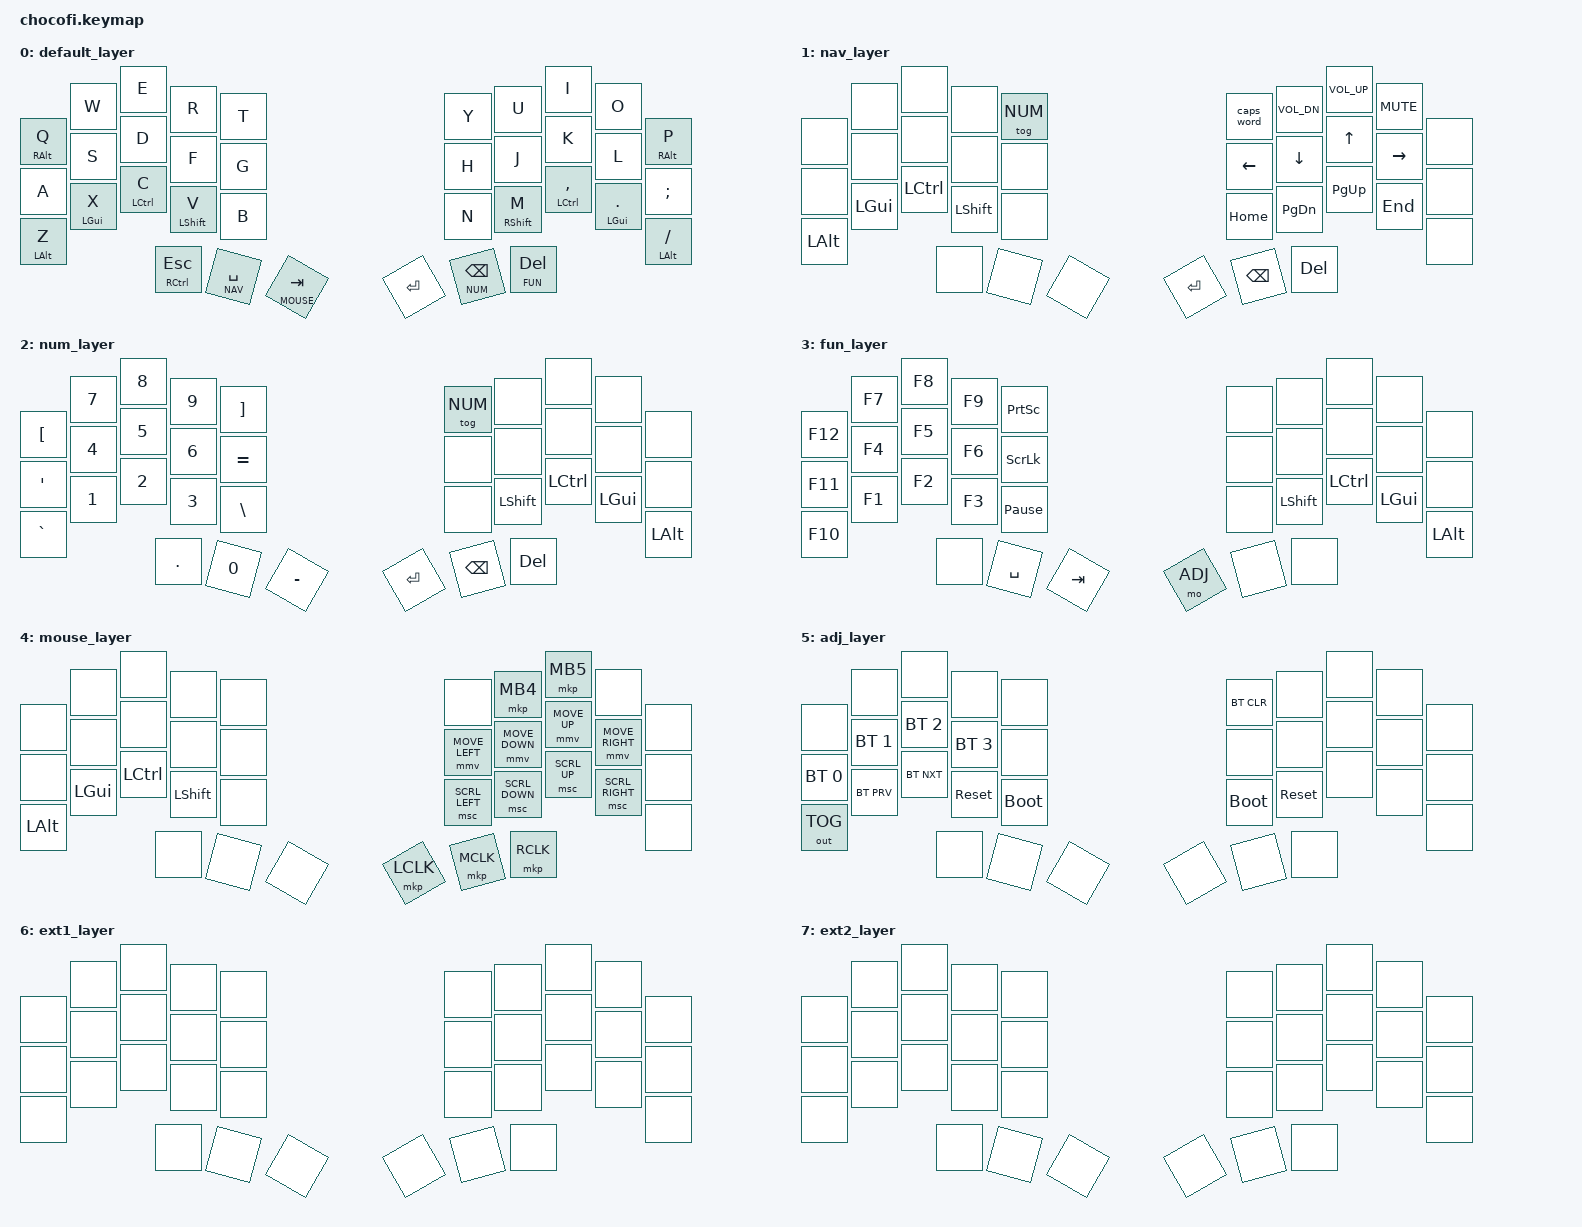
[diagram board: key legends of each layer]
/*
 * Copyright (c) 2020 The ZMK Contributors
 *
 * SPDX-License-Identifier: MIT
 */

#define ZMK_POINTING_DEFAULT_MOVE_VAL 2000  // default: 600
#define ZMK_POINTING_DEFAULT_SCRL_VAL 20    // default: 10

#include <behaviors.dtsi>
#include <dt-bindings/zmk/keys.h>
#include <dt-bindings/zmk/bt.h>
#include <dt-bindings/zmk/outputs.h>
#include <dt-bindings/zmk/pointing.h>

#define BASE 0
#define NAV 1
#define NUM 2
#define FUN 3
#define MOUSE 4
#define ADJ 5
#define EXT1 6
#define EXT2 7

&caps_word {
    continue-list = <UNDERSCORE MINUS BACKSPACE N0 N1 N2 N3 N4 N5 N6 N7 N8 N9>;
};

/ {

        behaviors {
                hm: homerow_mods {
                        compatible = "zmk,behavior-hold-tap";
                        label = "HOMEROW_MODS";
                        #binding-cells = <2>;
                        tapping-term-ms = <220>;
                        quick_tap_ms = <0>;
                        flavor = "tap-preferred";
                        bindings = <&kp>, <&kp>;
                };
                mmv {
                    acceleration-exponent = <1>;      // 1
                };
                msc {
                    acceleration-exponent = <0>;      // 0
                };
        };

        keymap {
                compatible = "zmk,keymap";


                default_layer {
                        bindings = <
&mt RALT Q  &kp W       &kp E          &kp R          &kp T     &kp Y        &kp U         &kp I            &kp O          &mt RALT P
&kp A       &kp S       &kp D          &kp F          &kp G     &kp H        &kp J         &kp K            &kp L          &kp SEMI
&hm LALT Z  &hm LGUI X  &hm LCTRL C    &hm LSHFT V    &kp B     &kp N        &hm RSHFT M   &hm LCTRL COMMA  &hm LGUI DOT   &hm LALT FSLH
                                     &mt RCTRL ESC  &lt NAV SPACE  &lt MOUSE TAB      &kp RET      &lt NUM BSPC     &lt FUN DEL
                        >;
                };
 
                nav_layer {
                        bindings = <
&none     &none         &none          &none          &tog NUM          &caps_word   &kp C_VOL_DN  &kp C_VOL_UP     &kp K_MUTE     &none
&none     &none         &none          &none          &none             &kp LEFT     &kp DOWN      &kp UP           &kp RIGHT      &none
&kp LALT  &kp LGUI      &kp LCTRL      &kp LSHFT      &none             &kp HOME     &kp PG_DN     &kp PG_UP        &kp END        &none
                                &none          &none          &none             &kp RET      &kp BSPC      &kp DEL
                        >;
                };

                num_layer {
                        bindings = <
&kp LBKT    &kp N7      &kp N8         &kp N9         &kp RBKT       &tog NUM     &none         &none            &none          &none
&kp SQT     &kp N4      &kp N5         &kp N6         &kp EQUAL      &none        &none         &none            &none          &none
&kp GRAVE   &kp N1      &kp N2         &kp N3         &kp BSLH       &none        &kp LSHFT     &kp LCTRL        &kp LGUI       &kp LALT
                                &kp DOT        &kp N0         &kp MINUS      &kp RET      &kp BSPC      &kp DEL
                        >;
                };

                fun_layer {
                        bindings = <
&kp F12     &kp F7      &kp F8         &kp F9         &kp PSCRN         &none        &none         &none            &none          &none
&kp F11     &kp F4      &kp F5         &kp F6         &kp SLCK          &none        &none         &none            &none          &none
&kp F10     &kp F1      &kp F2         &kp F3         &kp PAUSE_BREAK   &none        &kp LSHFT     &kp LCTRL        &kp LGUI       &kp LALT
                                &none          &kp SPACE      &kp TAB           &mo ADJ      &none         &none
                        >;
                };

                mouse_layer {
                        bindings = <
&none     &none         &none          &none          &none             &none             &mkp MB4         &mkp MB5       &none             &none
&none     &none         &none          &none          &none             &mmv MOVE_LEFT    &mmv MOVE_DOWN   &mmv MOVE_UP   &mmv MOVE_RIGHT   &none
&kp LALT  &kp LGUI      &kp LCTRL      &kp LSHFT      &none             &msc SCRL_LEFT    &msc SCRL_DOWN   &msc SCRL_UP   &msc SCRL_RIGHT   &none
                               &none          &none          &none             &mkp LCLK         &mkp MCLK        &mkp RCLK
                        >;
                };

                adj_layer {
                        bindings = <
&none         &none         &none         &none         &none            &bt BT_CLR   &none       &none   &none   &none
&bt BT_SEL 0  &bt BT_SEL 1  &bt BT_SEL 2  &bt BT_SEL 3  &none            &none        &none       &none   &none   &none
&out OUT_TOG  &bt BT_PRV    &bt BT_NXT    &sys_reset    &bootloader      &bootloader  &sys_reset  &none   &none   &none
                            &none         &none         &none            &none        &none   &none
                        >;
                };

                ext1_layer {
                        bindings = <
&none         &none         &none         &none         &none            &none   &none       &none   &none   &none
&none         &none         &none         &none         &none            &none   &none       &none   &none   &none
&none         &none         &none         &none         &none            &none   &none       &none   &none   &none
                            &none         &none         &none            &none   &none       &none
                        >;
                };

                ext2_layer {
                        bindings = <
&none         &none         &none         &none         &none            &none   &none       &none   &none   &none
&none         &none         &none         &none         &none            &none   &none       &none   &none   &none
&none         &none         &none         &none         &none            &none   &none       &none   &none   &none
                            &none         &none         &none            &none   &none       &none
                        >;
                };
        };
};
